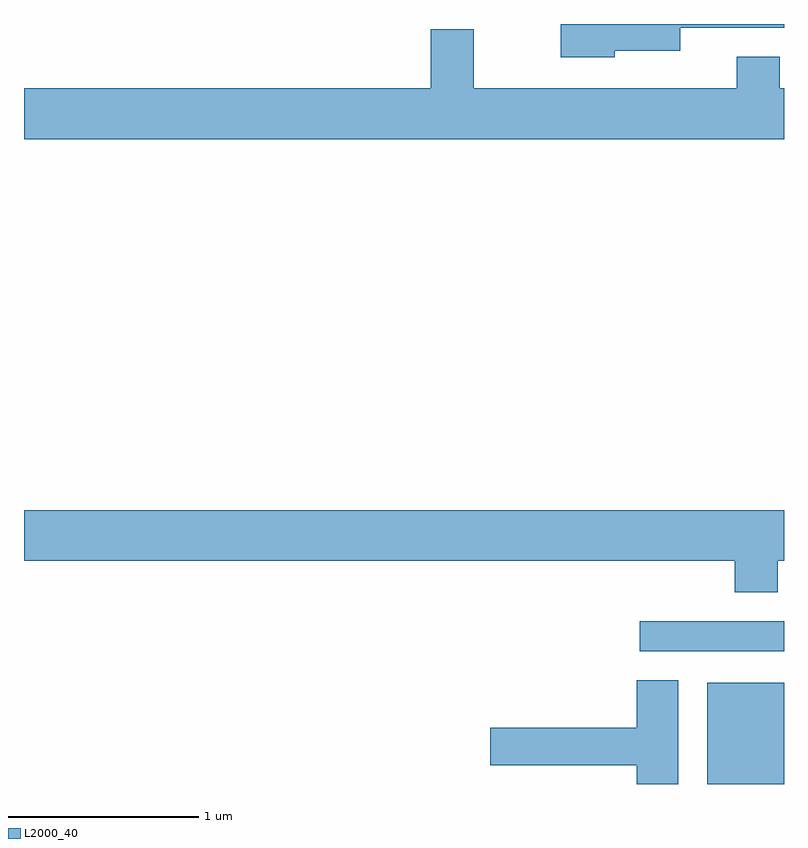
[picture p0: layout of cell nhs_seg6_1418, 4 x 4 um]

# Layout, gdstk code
import gdstk
lib = gdstk.Library(unit=1e-6, precision=1e-09)
def R(c, l, rs):  # rectangles x0, y0, x1, y1
    for r in rs: c.add(gdstk.rectangle(r[:2], r[2:], *l))
def P(c, l, *ps):  # polygons
    for p in ps: c.add(gdstk.Polygon(p, *l))
L2000_40 = (2000, 40)

nhs_seg6_1418 = lib.new_cell('nhs_seg6_1418')
R(nhs_seg6_1418, L2000_40, [(231.206,1582.162,231.611,1582.694), (230.853,1582.861,231.611,1583.019)])
P(nhs_seg6_1418, L2000_40, [(230.719,1586.021),(231.064,1586.021),(231.064,1586.141),(231.611,1586.141),(231.611,1586.162),(230.436,1586.162),(230.436,1585.986),(230.719,1585.986)],
  [(231.611,1585.824),(231.589,1585.824),(231.589,1585.989),(231.361,1585.989),(231.361,1585.824),(229.979,1585.824),(229.979,1586.134),(229.751,1586.134),(229.751,1585.824),(227.611,1585.824),(227.611,1585.556),(231.611,1585.556)],
  [(231.579,1583.336),(231.611,1583.336),(231.611,1583.604),(227.611,1583.604),(227.611,1583.336),(231.351,1583.336),(231.351,1583.171),(231.579,1583.171)],
  [(231.054,1582.709),(230.836,1582.709),(230.836,1582.459),(230.066,1582.459),(230.066,1582.261),(230.836,1582.261),(230.836,1582.162),(231.054,1582.162)])

lib.write_gds('nhs_seg6_1418.gds')
